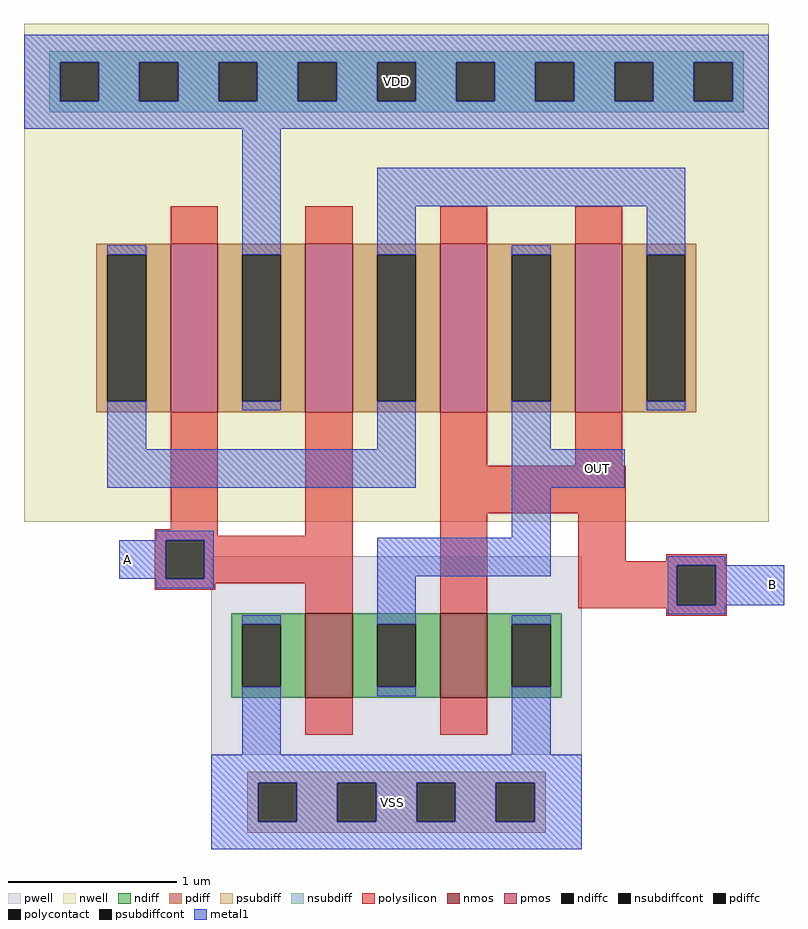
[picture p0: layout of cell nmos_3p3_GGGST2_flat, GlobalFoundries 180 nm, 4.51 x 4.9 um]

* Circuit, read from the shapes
.subckt nmos_3p3_GGGST2_flat A B OUT VDD VSS
XM1 OUT A VSS VSS nfet_03v3 w=0.5u l=0.28u
XM2 VSS B OUT VSS nfet_03v3 w=0.5u l=0.28u
XM3 VDD A n1 VDD pfet_03v3 w=1u l=0.28u m=2
XM4 OUT B n1 VDD pfet_03v3 w=1u l=0.28u m=2
.ends

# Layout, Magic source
magic
tech gf180mcuC
magscale 1 10
<< nwell >>
rect 0 277 884 868
<< pwell >>
rect 222 0 662 236
<< nmos >>
rect 334 68 390 168
rect 494 68 550 168
<< pmos >>
rect 174 407 230 607
rect 334 407 390 607
rect 494 407 550 607
rect 654 407 710 607
<< ndiff >>
rect 246 155 334 168
rect 246 81 259 155
rect 305 81 334 155
rect 246 68 334 81
rect 390 155 494 168
rect 390 81 419 155
rect 465 81 494 155
rect 390 68 494 81
rect 550 155 638 168
rect 550 81 579 155
rect 625 81 638 155
rect 550 68 638 81
<< pdiff >>
rect 86 594 174 607
rect 86 420 99 594
rect 145 420 174 594
rect 86 407 174 420
rect 230 594 334 607
rect 230 420 259 594
rect 305 420 334 594
rect 230 407 334 420
rect 390 594 494 607
rect 390 420 419 594
rect 465 420 494 594
rect 390 407 494 420
rect 550 594 654 607
rect 550 420 579 594
rect 625 420 654 594
rect 550 407 654 420
rect 710 594 798 607
rect 710 420 739 594
rect 785 420 798 594
rect 710 407 798 420
<< ndiffc >>
rect 259 81 305 155
rect 419 81 465 155
rect 579 81 625 155
<< pdiffc >>
rect 99 420 145 594
rect 259 420 305 594
rect 419 420 465 594
rect 579 420 625 594
rect 739 420 785 594
<< psubdiff >>
rect 265 -33 619 -20
rect 265 -79 278 -33
rect 324 -79 372 -33
rect 418 -79 466 -33
rect 512 -79 560 -33
rect 606 -79 619 -33
rect 265 -92 619 -79
<< nsubdiff >>
rect 30 822 854 835
rect 30 776 43 822
rect 89 776 137 822
rect 183 776 231 822
rect 277 776 325 822
rect 371 776 419 822
rect 465 776 513 822
rect 559 776 607 822
rect 653 776 701 822
rect 747 776 795 822
rect 841 776 854 822
rect 30 763 854 776
<< psubdiffcont >>
rect 278 -79 324 -33
rect 372 -79 418 -33
rect 466 -79 512 -33
rect 560 -79 606 -33
<< nsubdiffcont >>
rect 43 776 89 822
rect 137 776 183 822
rect 231 776 277 822
rect 325 776 371 822
rect 419 776 465 822
rect 513 776 559 822
rect 607 776 653 822
rect 701 776 747 822
rect 795 776 841 822
<< polysilicon >>
rect 174 607 230 651
rect 334 607 390 651
rect 494 607 550 651
rect 654 607 710 651
rect 174 268 230 407
rect 155 260 230 268
rect 334 260 390 407
rect 155 255 390 260
rect 155 209 168 255
rect 214 209 390 255
rect 155 204 390 209
rect 155 196 227 204
rect 334 168 390 204
rect 494 343 550 407
rect 654 343 710 407
rect 494 287 714 343
rect 494 168 550 287
rect 658 230 714 287
rect 762 230 834 238
rect 658 225 834 230
rect 658 178 775 225
rect 821 178 834 225
rect 658 174 834 178
rect 762 165 834 174
rect 334 24 390 68
rect 494 24 550 68
<< polycontact >>
rect 168 209 214 255
rect 775 178 821 225
<< metal1 >>
rect 0 822 884 855
rect 0 776 43 822
rect 89 776 137 822
rect 183 776 231 822
rect 277 776 325 822
rect 371 776 419 822
rect 465 776 513 822
rect 559 776 607 822
rect 653 776 701 822
rect 747 776 795 822
rect 841 776 884 822
rect 0 743 884 776
rect 99 594 145 605
rect 99 363 145 420
rect 259 594 305 743
rect 259 409 305 420
rect 419 651 785 697
rect 419 594 465 651
rect 419 363 465 420
rect 99 317 465 363
rect 579 594 625 605
rect 579 363 625 420
rect 739 594 785 651
rect 739 409 785 420
rect 579 317 713 363
rect 157 255 225 266
rect 579 258 625 317
rect 113 209 168 255
rect 214 209 225 255
rect 157 198 225 209
rect 419 212 625 258
rect 764 225 832 236
rect 259 155 305 166
rect 259 0 305 81
rect 419 155 465 212
rect 764 178 775 225
rect 821 178 902 225
rect 764 167 832 178
rect 419 70 465 81
rect 579 155 625 166
rect 579 0 625 81
rect 222 -33 662 0
rect 222 -79 278 -33
rect 324 -79 372 -33
rect 418 -79 466 -33
rect 512 -79 560 -33
rect 606 -79 662 -33
rect 222 -112 662 -79
<< labels >>
flabel metal1 437 -56 437 -56 0 FreeSans 320 0 0 0 VSS
port 7 nsew
flabel nsubdiffcont 442 799 442 799 0 FreeSans 320 0 0 0 VDD
port 6 nsew
flabel metal1 123 232 123 232 0 FreeSans 320 0 0 0 A
port 0 nsew
flabel metal1 888 202 888 202 0 FreeSans 320 0 0 0 B
port 1 nsew
flabel metal1 681 340 681 340 0 FreeSans 320 0 0 0 OUT
port 4 nsew
<< end >>
